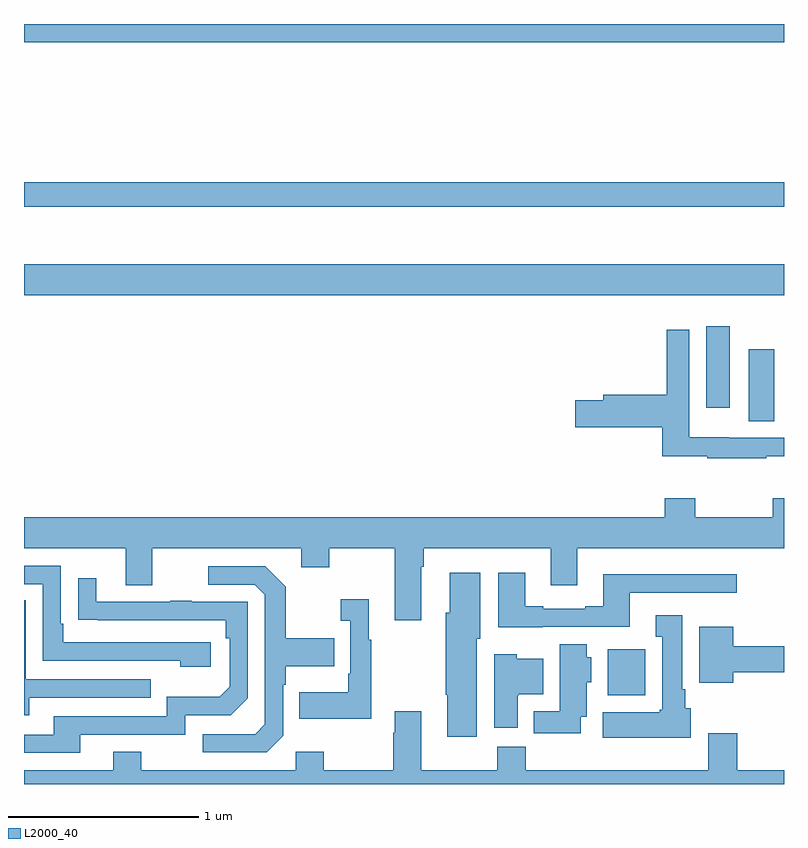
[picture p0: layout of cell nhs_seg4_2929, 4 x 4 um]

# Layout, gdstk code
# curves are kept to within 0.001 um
import gdstk
lib = gdstk.Library(unit=1e-6, precision=1e-09)
def R(c, l, rs):  # rectangles x0, y0, x1, y1
    for r in rs: c.add(gdstk.rectangle(r[:2], r[2:], *l))
def P(c, l, *ps):  # polygons
    for p in ps: c.add(gdstk.Polygon(p, *l))
L2000_40 = (2000, 40)

nhs_seg4_2929 = lib.new_cell('nhs_seg4_2929')
R(nhs_seg4_2929, L2000_40, [(268.073,809.366,268.27,809.608), (268.814,810.808,268.948,811.189), (268.592,810.879,268.714,811.309), (265,811.472,269,811.636), (265,811.938,269,812.066), (265,812.804,269,812.9)])
P(nhs_seg4_2929, L2000_40, [(268.907,810.625),(269,810.625),(269,810.723),(268.71,810.723),(268.71,810.724),(268.5,810.724),(268.5,811.291),(268.384,811.291),(268.384,810.95),(268.049,810.95),(268.049,810.92),(267.9,810.92),(267.9,810.778),(268.358,810.778),(268.358,810.625),(268.597,810.625),(268.597,810.615),(268.907,810.615)],
  [(267.091,810.044),(267.104,810.044),(267.104,810.14),(267.773,810.14),(267.773,809.946),(267.913,809.946),(267.913,810.14),(269,810.14),(269,810.403),(268.942,810.403),(268.942,810.304),(268.533,810.304),(268.533,810.403),(268.373,810.403),(268.373,810.304),(265,810.304),(265,810.14),(265.535,810.14),(265.535,809.946),(265.675,809.946),(265.675,810.14),(266.459,810.14),(266.459,810.041),(266.607,810.041),(266.607,810.14),(266.951,810.14),(266.951,809.763),(267.091,809.763)],
  [(265.984,809.646),(265.207,809.646),(265.207,809.743),(265.194,809.743),(265.194,810.048),(265,810.048),(265,809.952),(265.098,809.952),(265.098,809.55),(265.823,809.55),(265.823,809.516),(265.984,809.516)],
  [(266.364,809.154),(266.364,809.423),(266.377,809.423),(266.377,809.519),(266.633,809.519),(266.633,809.667),(266.377,809.667),(266.377,809.939),(266.271,810.045),(265.971,810.045),(265.971,809.949),(266.214,809.949),(266.268,809.895),(266.268,809.214),(266.217,809.163),(265.941,809.163),(265.941,809.067),(266.277,809.067)],
  [(267.729,809.727),(268.189,809.727),(268.189,809.907),(268.75,809.907),(268.75,810.004),(268.049,810.004),(268.049,809.836),(267.953,809.836),(267.953,809.823),(267.733,809.823),(267.733,809.836),(267.637,809.836),(267.637,810.013),(267.497,810.013),(267.497,809.726),(267.729,809.726)],
  [(267.382,809.664),(267.4,809.664),(267.4,810.013),(267.242,810.013),(267.242,809.802),(267.22,809.802),(267.22,809.371),(267.227,809.371),(267.227,809.148),(267.382,809.148)],
  [(265.297,809.16),(265.848,809.16),(265.848,809.262),(266.088,809.262),(266.178,809.352),(266.178,809.859),(265.883,809.859),(265.883,809.864),(265.771,809.864),(265.771,809.859),(265.381,809.859),(265.381,809.983),(265.285,809.983),(265.285,809.764),(266.062,809.763),(266.062,809.666),(266.082,809.666),(266.082,809.412),(266.029,809.359),(265.752,809.359),(265.752,809.256),(265.157,809.256),(265.157,809.16),(265,809.16),(265,809.064),(265.297,809.064)],
  [(266.827,809.659),(266.815,809.659),(266.815,809.872),(266.667,809.872),(266.667,809.759),(266.718,809.759),(266.718,809.479),(266.706,809.479),(266.706,809.383),(266.449,809.383),(266.449,809.243),(266.827,809.243)],
  [(265.027,809.355),(265.667,809.355),(265.667,809.451),(265.008,809.451),(265.008,809.867),(265,809.867),(265,809.261),(265.027,809.261)],
  [(268.51,809.298),(268.48,809.298),(268.48,809.398),(268.465,809.398),(268.465,809.788),(268.325,809.788),(268.325,809.675),(268.358,809.675),(268.358,809.292),(268.345,809.292),(268.345,809.278),(268.046,809.278),(268.046,809.144),(268.51,809.144)],
  [(268.732,809.488),(269,809.488),(269,809.624),(268.732,809.624),(268.732,809.728),(268.553,809.728),(268.553,809.432),(268.732,809.432)],
  [(267.931,809.255),(267.961,809.255),(267.961,809.436),(267.985,809.436),(267.985,809.568),(267.961,809.568),(267.961,809.635),(267.821,809.635),(267.821,809.284),(267.683,809.284),(267.683,809.166),(267.931,809.166)],
  [(267.598,809.366),(267.604,809.366),(267.604,809.372),(267.733,809.372),(267.733,809.56),(267.594,809.56),(267.594,809.584),(267.476,809.584),(267.476,809.196),(267.598,809.196)],
  [(269,808.972),(268.754,808.972),(268.754,809.167),(268.601,809.167),(268.601,808.972),(267.641,808.972),(267.641,809.096),(267.49,809.096),(267.49,808.972),(267.091,808.972),(267.091,809.284),(266.951,809.284),(266.951,809.171),(266.944,809.171),(266.944,808.972),(266.577,808.972),(266.577,809.071),(266.43,809.071),(266.43,808.972),(265.617,808.972),(265.617,809.071),(265.469,809.071),(265.469,808.972),(265,808.972),(265,808.9),(269,808.9)])

lib.write_gds('nhs_seg4_2929.gds')
